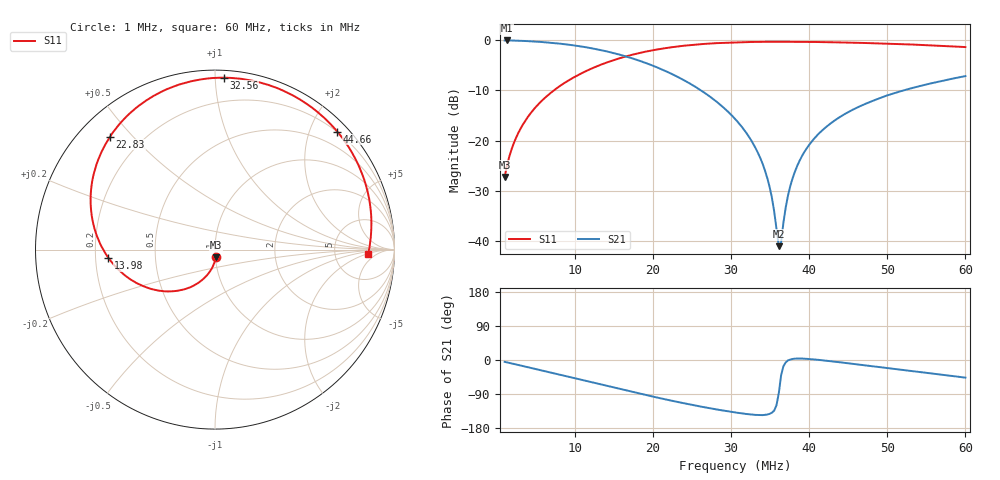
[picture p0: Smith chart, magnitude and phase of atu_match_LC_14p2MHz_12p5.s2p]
! S11/S21 from S-A-A-2 VNA
! Written 2026-11-14 07:55:49 by the saav2 MCP server
! S12 and S22 were not measured (1.5-port VNA) and are written as 0
# HZ S RI R 50
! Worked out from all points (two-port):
!   201 points, 1 MHz to 60 MHz, reference 50 ohm
!   highest |S21| = -0.06 dB at 1.295 MHz (marker M1); lowest = -40.9 dB at 36.1 MHz (marker M2)
!   |S21| within 3 dB of the highest: start of sweep to 16.14 MHz
!   lowest |S11| = -27.2 dB at 1 MHz (marker M3), VSWR 1.09, Z = 50.3 - j4.38 ohm
!   |S11| at or under -10 dB: start of sweep to 7.298 MHz
!   S12 and S22 are empty: the file has one direction only
!   S11 on the Smith chart (normalised r, x): 1 MHz: 1.01, -0.09; 13.98 MHz: 0.25, -0.04; 22.83 MHz: 0.09, +0.43; 32.56 MHz: 0.04, +1.05; 44.66 MHz: 0.19, +2.46; 60 MHz: 12, -2
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1000000  0.00469 -0.0434  0.9887 -0.084  0 0  0 0
1295000  0.00191 -0.0564  0.987 -0.1067  0 0  0 0
2475000  -0.0183 -0.106  0.9679 -0.202  0 0  0 0
4540000  -0.0837 -0.1782  0.9035 -0.3589  0 0  0 0
1.103e7  -0.4386 -0.1854  0.5147 -0.6884  0 0  0 0
1.398e7  -0.594 -0.046  0.294 -0.7183  0 0  0 0
1.752e7  -0.6898 0.2126  0.0567 -0.65  0 0  0 0
2.0765e7  -0.6597 0.4765  -0.0929 -0.5179  0 0  0 0
2.283e7  -0.5842 0.6298  -0.1469 -0.4193  0 0  0 0
2.696e7  -0.3447 0.8549  -0.1689 -0.2319  0 0  0 0
3.05e7  -0.0963 0.9448  -0.1234 -0.11  0 0  0 0
3.2565e7  0.0484 0.9577  -0.082 -0.0597  0 0  0 0
3.404e7  0.1475 0.9513  -0.0486 -0.0335  0 0  0 0
3.4925e7  0.2047 0.9418  -0.0276 -0.0214  0 0  0 0
3.6105e7  0.2775 0.9239  0.000328 -0.00898  0 0  0 0
3.64e7  0.296 0.9179  0.00738 -0.0064  0 0  0 0
3.699e7  0.3296 0.9058  0.0216 -0.00243  0 0  0 0
3.7875e7  0.3803 0.8854  0.0425 0.00198  0 0  0 0
4.053e7  0.515 0.8091  0.1029 0.00299  0 0  0 0
4.466e7  0.6808 0.6577  0.1848 -0.0254  0 0  0 0
5.0265e7  0.8213 0.4169  0.2665 -0.1062  0 0  0 0
6e7  0.8525 -0.0271  0.3023 -0.3188  0 0  0 0
